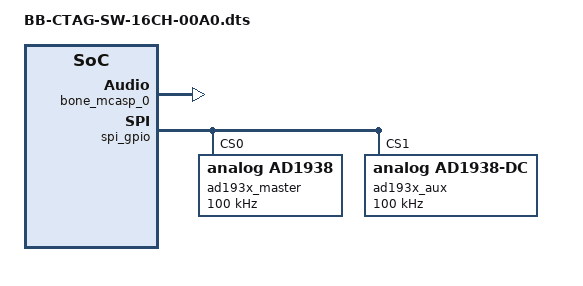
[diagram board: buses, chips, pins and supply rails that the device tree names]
/*
 * Copyright (C) 2020 Deepak Khatri <deepaklorkhatri7@gmail.com>
 * Device Tree Overlay for CTAG face2|4 multichannel soundcard - 8 audio channels
 *
 * Based on the BB-CTAG-SW-16CH-00A0.dts for kernel <4.14 written by
 * Copyright (C) Henrik Langer <henni19790@googlemail.com>
 *
 * This program is free software; you can redistribute it and/or modify
 * it under the terms of the GNU General Public License version 3 as
 * published by the Free Software Foundation.
 */
/dts-v1/;
/plugin/;

/*
 * Helper to show loaded overlays under: /proc/device-tree/chosen/overlays/
 */
&{/chosen} {
	overlays {
		BB-CTAG-SW-16CH-00A0 = __TIMESTAMP__;
	};
};

/*
 * Update the default pinmux of the pins.
 * See these files for the phandles (&P9_* & &P8_*)
 * https://github.com/lorforlinux/BeagleBoard-DeviceTrees/blob/compatibility/src/arm/am335x-bone-common-univ.dtsi
 * https://github.com/lorforlinux/BeagleBoard-DeviceTrees/blob/compatibility/src/arm/am572x-bone-common-univ.dtsi
 */
&ocp {
	P9_30_pinmux { pinctrl-0 = <&P9_30_mcasp_pin>; }; /* mcasp axr - audio in */
	P9_28_pinmux { pinctrl-0 = <&P9_28_mcasp_pin>; }; /* mcasp axr - audio out */
	P9_31_pinmux { pinctrl-0 = <&P9_31_mcasp_pin>; }; /* mcasp ahclkx - transmit bitclock */
	P9_29_pinmux { pinctrl-0 = <&P9_29_mcasp_pin>; }; /* mcasp fsx - transmit frameclock */
	P9_12_pinmux { pinctrl-0 = <&P9_12_mcasp_pin>; }; /* mcasp aclkr - receive bitclock */
	P9_27_pinmux { pinctrl-0 = <&P9_27_mcasp_pin>; }; /* mcasp fsr - receive frameclock */
	P9_25_pinmux { pinctrl-0 = <&P9_25_mcasp_pin>; }; /* mcasp ahclkx - masterclock */
	P8_32_pinmux { pinctrl-0 = <&P8_32_gpio_pu_pin>; }; /* spi_sclk */
	P8_33_pinmux { pinctrl-0 = <&P8_33_gpio_pu_pin>; }; /* spi_mosi */
	P8_14_pinmux { pinctrl-0 = <&P8_14_gpio_pu_pin>; }; /* spi_miso */
	P8_17_pinmux { pinctrl-0 = <&P8_17_gpio_pu_pin>; }; /* spi_cs0 */
	P8_31_pinmux { pinctrl-0 = <&P8_31_gpio_pu_pin>; }; /* spi_cs1 */
};

/*
 * See these files for the phandles (&bone_*) and other bone bus nodes
 * https://github.com/lorforlinux/BeagleBoard-DeviceTrees/blob/compatibility/src/arm/bbai-bone-buses.dtsi
 * https://github.com/lorforlinux/BeagleBoard-DeviceTrees/blob/compatibility/src/arm/bbb-bone-buses.dtsi
 */
&bone_mcasp_0 {
	status = "okay";
	op-mode = <0>;	/* MCASP_IIS_MODE */
	tdm-slots = <16>;
	num-serializer = <16>;
	serial-dir = <  /* 0: INACTIVE, 1: TX, 2: RX */
		2 0 1 0
		0 0 0 0
		0 0 0 0
		0 0 0 0
	>;
	tx-num-evt = <1>;
	rx-num-evt = <1>;
};

&ocp {
	sound {
		compatible = "ctag,face-2-4";
		model = "CTAG face-2-4 16CH";
		audio-codec = <&ad193x_master>;
		audio-codec-aux = <&ad193x_aux>;
		mcasp-controller = <&bone_mcasp_0>;
		audiocard-tdm-slots = <16>;
		codec-clock-rate = <24576000>;
		cpu-clock-rate = <24576000>;
		audio-codec-bit-delay-dac = <1>; //currently only supports 1 or 0 bit delay
		audio-codec-bit-delay-adc = <1>;
		audio-codec-aux-bit-delay-dac = <1>;
		audio-codec-aux-bit-delay-adc = <1>;
		mcasp-controller-bit-delay-tx = <1>;
		mcasp-controller-bit-delay-rx = <1>;
		bb-device = <0>; //BBB/BBG
		audio-routing =
			"Line Out",             "DAC1OUT",
			"Line Out",             "DAC2OUT",
			"Line Out",             "DAC3OUT",
			"Line Out",             "DAC4OUT",
			//"Line Out",             "DAC5OUT",
			//"Line Out",             "DAC6OUT",
			//"Line Out",             "DAC7OUT",
			//"Line Out",             "DAC8OUT",
			"ADC1IN",               "Line In",
			"ADC2IN",               "Line In",
			"ADC3IN",               "Line In",
			"ADC4IN",               "Line In";
	};
};

&{/} {
	spi_gpio: spi_gpio {
		compatible = "spi-gpio";
		/* avoid dtc warnings */
		#address-cells = <1>;
		#size-cells = <0>;

		ad193x_master: ad193x@0{
			#address-cells = <1>;
			#size-cells = <0>;
			compatible = "analog,ad1938";
			reg = <0>; //corresponds to cs
			spi-max-frequency = <100000>;
		};

		ad193x_aux: ad193x@1{
			#address-cells = <1>;
			#size-cells = <0>;
			compatible = "analog,ad1938-dc";
			reg = <1>;
			spi-max-frequency = <100000>;
		};
	};
};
